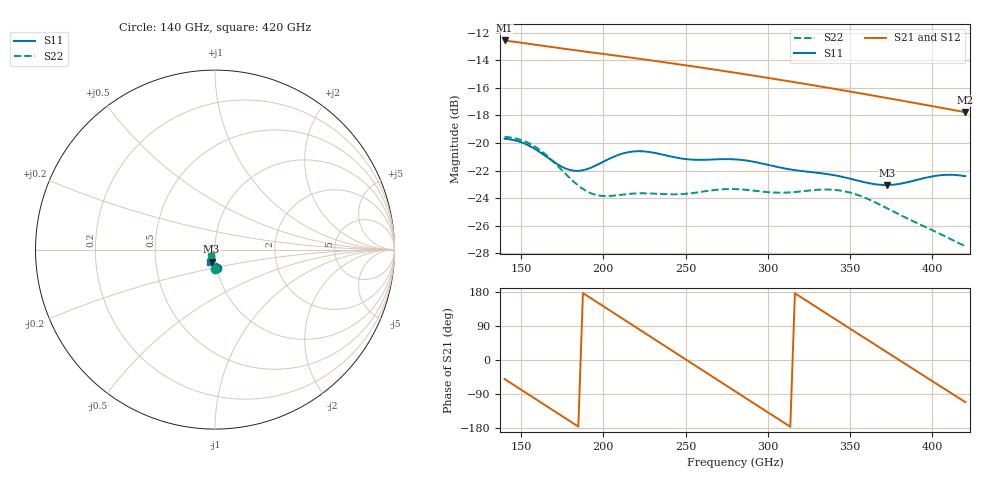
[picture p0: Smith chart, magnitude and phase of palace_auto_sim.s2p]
#  GHZ S DB R 50
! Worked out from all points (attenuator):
!   101 points, 140 GHz to 420 GHz, reference 50 ohm
!   highest |S21| = -12.55 dB at 140 GHz (marker M1); lowest = -17.8 dB at 420 GHz (marker M2)
!   lowest |S11| = -23.1 dB at 372.4 GHz (marker M3), VSWR 1.15, Z = 47.7 - j6.49 ohm
!   |S11| at or under -10 dB: start of sweep to end of sweep
!   |S22| runs from -27.5 to -19.5 dB; largest |S21 - S12| = 3.6e-13
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140  -19.69 -84.5  -12.55 -50.3  -12.55 -50.3  -19.55 -89.2
151.2  -19.99 -87.5  -12.73 -81.6  -12.73 -81.6  -19.83 -93.7
162.4  -20.74 -90.0  -12.92 -113.0  -12.92 -113.0  -20.60 -99.0
176.4  -21.82 -87.8  -13.16 -152.2  -13.16 -152.2  -22.16 -102.2
187.6  -21.98 -82.8  -13.34 176.5  -13.34 176.5  -23.34 -99.6
198.8  -21.43 -80.4  -13.51 145.1  -13.51 145.1  -23.84 -94.7
212.8  -20.73 -83.4  -13.73 105.9  -13.73 105.9  -23.74 -91.5
224  -20.61 -87.9  -13.92 74.5  -13.92 74.5  -23.65 -91.6
235.2  -20.82 -91.5  -14.10 43.1  -14.10 43.1  -23.71 -92.0
254.8  -21.22 -94.1  -14.44 -11.8  -14.44 -11.8  -23.63 -92.2
268.8  -21.19 -95.8  -14.69 -51.0  -14.69 -51.0  -23.40 -94.1
280  -21.19 -98.4  -14.90 -82.3  -14.90 -82.3  -23.35 -96.8
291.2  -21.36 -101.3  -15.10 -113.6  -15.10 -113.6  -23.46 -99.2
305.2  -21.73 -103.7  -15.37 -152.7  -15.37 -152.7  -23.61 -101.1
316.4  -21.97 -104.6  -15.59 176.1  -15.59 176.1  -23.56 -102.4
327.6  -22.13 -105.5  -15.81 144.8  -15.81 144.8  -23.42 -104.9
350  -22.60 -107.7  -16.27 82.5  -16.27 82.5  -23.61 -113.5
372.4  -23.05 -105.7  -16.73 20.3  -16.73 20.3  -24.74 -120.3
375.2  -23.04 -105.3  -16.79 12.6  -16.79 12.6  -24.91 -120.7
386.4  -22.81 -104.2  -17.03 -18.5  -17.03 -18.5  -25.58 -121.6
400.4  -22.42 -105.5  -17.34 -57.2  -17.34 -57.2  -26.37 -121.5
420  -22.41 -110.2  -17.77 -111.3  -17.77 -111.3  -27.50 -118.3
